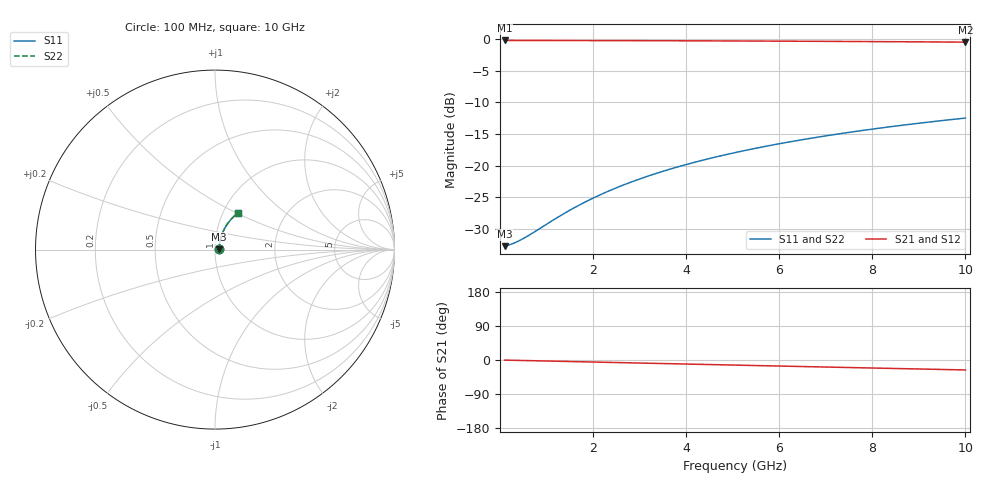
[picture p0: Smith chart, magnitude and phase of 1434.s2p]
# Hz S RI R 50.00
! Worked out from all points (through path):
!   100 points, 100 MHz to 10 GHz, reference 50 ohm
!   highest |S21| = -0.20 dB at 100 MHz (marker M1); lowest = -0.5 dB at 10 GHz (marker M2)
!   group delay of S21, straight-line fit = 7.31 ps
!   lowest |S11| = -32.7 dB at 100 MHz (marker M3), VSWR 1.05, Z = 52.4 + j0.251 ohm
!   |S11| at or under -10 dB: start of sweep to end of sweep
!   |S22| runs from -32.7 to -12.5 dB; largest |S21 - S12| = 0
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1e8  0.023 0.0024  0.977 -0.00457  0.977 -0.00457  0.023 0.0024
2e8  0.0232 0.00479  0.9768 -0.00914  0.9768 -0.00914  0.0232 0.00479
3e8  0.0233 0.00719  0.9766 -0.0137  0.9766 -0.0137  0.0233 0.00719
5e8  0.0237 0.012  0.9763 -0.0228  0.9763 -0.0228  0.0237 0.012
7e8  0.0241 0.0167  0.9758 -0.0319  0.9758 -0.0319  0.0241 0.0167
1.3e9  0.0257 0.031  0.9739 -0.0592  0.9739 -0.0592  0.0257 0.031
1.6e9  0.0268 0.0381  0.9726 -0.0728  0.9726 -0.0728  0.0268 0.0381
1.8e9  0.0276 0.0428  0.9716 -0.0819  0.9716 -0.0819  0.0276 0.0428
2.2e9  0.0295 0.0521  0.9693 -0.0999  0.9693 -0.0999  0.0295 0.0521
2.6e9  0.0317 0.0614  0.9666 -0.1179  0.9666 -0.1179  0.0317 0.0614
3e9  0.0343 0.0706  0.9635 -0.1357  0.9635 -0.1357  0.0343 0.0706
3.4e9  0.0372 0.0796  0.96 -0.1535  0.96 -0.1535  0.0372 0.0796
3.8e9  0.0404 0.0886  0.9561 -0.1711  0.9561 -0.1711  0.0404 0.0886
4.2e9  0.0439 0.0973  0.9518 -0.1886  0.9518 -0.1886  0.0439 0.0973
4.6e9  0.0478 0.106  0.9471 -0.2059  0.9471 -0.2059  0.0478 0.106
5.1e9  0.053 0.1165  0.9407 -0.2273  0.9407 -0.2273  0.053 0.1165
5.9e9  0.0624 0.1328  0.9292 -0.261  0.9292 -0.261  0.0624 0.1328
6.7e9  0.0728 0.1482  0.9163 -0.2939  0.9163 -0.2939  0.0728 0.1482
7.5e9  0.0843 0.1628  0.902 -0.3259  0.902 -0.3259  0.0843 0.1628
8.4e9  0.0984 0.178  0.8844 -0.3607  0.8844 -0.3607  0.0984 0.178
9.2e9  0.1118 0.1904  0.8676 -0.3906  0.8676 -0.3906  0.1118 0.1904
1e10  0.1259 0.2018  0.8497 -0.4194  0.8497 -0.4194  0.1259 0.2018
